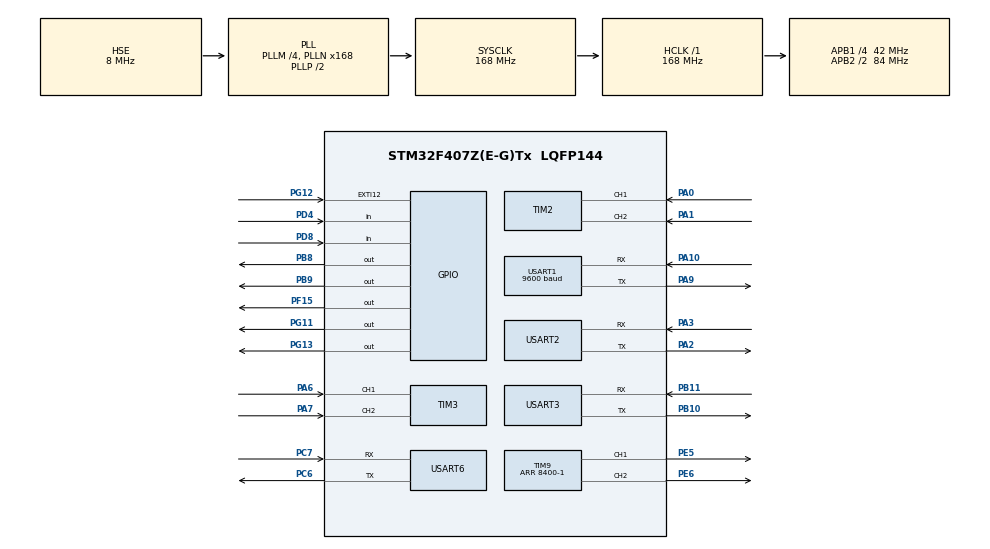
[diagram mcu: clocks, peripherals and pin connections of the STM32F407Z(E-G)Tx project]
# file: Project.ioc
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Mcu.Family=STM32F4
Mcu.Name=STM32F407Z(E-G)Tx
Mcu.Package=LQFP144
NVIC.EXTI15_10_IRQn=true\:0\:0\:false\:false\:true\:true\:true\:true
NVIC.PriorityGroup=NVIC_PRIORITYGROUP_4
NVIC.TIM1_BRK_TIM9_IRQn=true\:0\:0\:false\:false\:true\:true\:true\:true
NVIC.TIM1_UP_TIM10_IRQn=true\:0\:0\:false\:false\:true\:true\:true\:true
NVIC.USART1_IRQn=true\:0\:0\:false\:false\:true\:true\:true\:true
NVIC.USART2_IRQn=true\:0\:0\:false\:false\:true\:true\:true\:true
NVIC.USART3_IRQn=true\:0\:0\:false\:false\:true\:true\:true\:true
NVIC.USART6_IRQn=true\:0\:0\:false\:false\:true\:true\:true\:true
PA0-WKUP.Signal=S_TIM2_CH1_ETR
PA1.Signal=S_TIM2_CH2
PA10.Mode=Asynchronous
PA10.Signal=USART1_RX
PA13.Mode=Serial_Wire
PA13.Signal=SYS_JTMS-SWDIO
PA14.Mode=Serial_Wire
PA14.Signal=SYS_JTCK-SWCLK
PA2.Mode=Asynchronous
PA2.Signal=USART2_TX
PA3.Mode=Asynchronous
PA3.Signal=USART2_RX
PA6.Signal=S_TIM3_CH1
PA7.Signal=S_TIM3_CH2
PA9.Mode=Asynchronous
PA9.Signal=USART1_TX
PB10.Mode=Asynchronous
PB10.Signal=USART3_TX
PB11.Mode=Asynchronous
PB11.Signal=USART3_RX
PB8.GPIO_ModeDefaultOutputPP=GPIO_MODE_OUTPUT_PP
PB8.GPIO_PuPd=GPIO_PULLUP
PB8.GPIO_Speed=GPIO_SPEED_FREQ_HIGH
PB8.PinState=GPIO_PIN_SET
PB8.Signal=GPIO_Output
PB9.GPIO_ModeDefaultOutputPP=GPIO_MODE_OUTPUT_PP
PB9.GPIO_PuPd=GPIO_PULLUP
PB9.GPIO_Speed=GPIO_SPEED_FREQ_HIGH
PB9.PinState=GPIO_PIN_SET
PB9.Signal=GPIO_Output
PC6.Mode=Asynchronous
PC6.Signal=USART6_TX
PC7.Mode=Asynchronous
PC7.Signal=USART6_RX
PD4.GPIO_PuPd=GPIO_PULLUP
PD4.Signal=GPIO_Input
PD8.GPIO_PuPd=GPIO_PULLUP
PD8.Signal=GPIO_Input
PE5.Signal=S_TIM9_CH1
PE6.Signal=S_TIM9_CH2
PF15.GPIO_PuPd=GPIO_PULLUP
PF15.GPIO_Speed=GPIO_SPEED_FREQ_VERY_HIGH
PF15.PinState=GPIO_PIN_SET
PF15.Signal=GPIO_Output
PG11.GPIO_ModeDefaultOutputPP=GPIO_MODE_OUTPUT_PP
PG11.GPIO_PuPd=GPIO_PULLUP
PG11.GPIO_Speed=GPIO_SPEED_FREQ_LOW
PG11.PinState=GPIO_PIN_SET
PG11.Signal=GPIO_Output
PG12.GPIO_ModeDefaultEXTI=GPIO_MODE_IT_FALLING
PG12.GPIO_PuPd=GPIO_PULLUP
PG12.Signal=GPXTI12
PG13.GPIO_ModeDefaultOutputPP=GPIO_MODE_OUTPUT_PP
PG13.GPIO_PuPd=GPIO_PULLUP
PG13.GPIO_Speed=GPIO_SPEED_FREQ_LOW
PG13.PinState=GPIO_PIN_SET
PG13.Signal=GPIO_Output
PH0-OSC_IN.Mode=HSE-External-Oscillator
PH0-OSC_IN.Signal=RCC_OSC_IN
PH1-OSC_OUT.Mode=HSE-External-Oscillator
PH1-OSC_OUT.Signal=RCC_OSC_OUT
ProjectManager.HeapSize=0x200
ProjectManager.StackSize=0x400
ProjectManager.TargetToolchain=MDK-ARM V5.32
RCC.48MHZClocksFreq_Value=84000000
RCC.AHBFreq_Value=168000000
RCC.APB1CLKDivider=RCC_HCLK_DIV4
RCC.APB1Freq_Value=42000000
RCC.APB1TimFreq_Value=84000000
RCC.APB2CLKDivider=RCC_HCLK_DIV2
RCC.APB2Freq_Value=84000000
RCC.APB2TimFreq_Value=168000000
RCC.CortexFreq_Value=168000000
RCC.HCLKFreq_Value=168000000
RCC.HSE_VALUE=8000000
RCC.HSI_VALUE=16000000
RCC.LSE_VALUE=32768
RCC.PLLM=4
RCC.PLLN=168
RCC.PLLSourceVirtual=RCC_PLLSOURCE_HSE
RCC.SYSCLKFreq_VALUE=168000000
RCC.SYSCLKSource=RCC_SYSCLKSOURCE_PLLCLK
RCC.VCOOutputFreq_Value=336000000
SH.S_TIM2_CH1_ETR.0=TIM2_CH1,Encoder_Interface
SH.S_TIM2_CH2.0=TIM2_CH2,Encoder_Interface
SH.S_TIM3_CH1.0=TIM3_CH1,Encoder_Interface
SH.S_TIM3_CH2.0=TIM3_CH2,Encoder_Interface
SH.S_TIM9_CH1.0=TIM9_CH1,PWM Generation1 CH1
SH.S_TIM9_CH2.0=TIM9_CH2,PWM Generation2 CH2
TIM1.Period=10000-1
TIM1.Prescaler=84-1
TIM9.Channel-PWM\ Generation1\ CH1=TIM_CHANNEL_1
TIM9.Channel-PWM\ Generation2\ CH2=TIM_CHANNEL_2
TIM9.Period=8400-1
USART1.BaudRate=9600
USART1.VirtualMode=VM_ASYNC
USART2.VirtualMode=VM_ASYNC
USART3.VirtualMode=VM_ASYNC
USART6.VirtualMode=VM_ASYNC
VP_TIM1_VS_ClockSourceINT.Mode=Internal
VP_TIM9_VS_ClockSourceINT.Mode=Internal
board=custom

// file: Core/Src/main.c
/* USER CODE BEGIN Header */
/**
  ******************************************************************************
  * @file           : main.c
  * @brief          : Main program body
  ******************************************************************************
  * @attention
  *
  * Copyright (c) 2024 STMicroelectronics.
  * All rights reserved.
  *
  * This software is licensed under terms that can be found in the LICENSE file
  * in the root directory of this software component.
  * If no LICENSE file comes with this software, it is provided AS-IS.
  *
  ******************************************************************************
  */
/* USER CODE END Header */
#include "main.h"
#include "tim.h"
#include "usart.h"
#include "gpio.h"

/* USER CODE BEGIN Includes */
#include "led.h"
#include "oled.h"
#include "key.h"
#include "delay.h"
#include "stdio.h"
#include "string.h"
#include "sys.h"
#include "mpu9250.h"
#include "myiic.h"
#include "delay.h"
#include "inv_mpu.h"
#include "inv_mpu_dmp_motion_driver.h"
/* USER CODE END Includes */

/* USER CODE BEGIN PV */
char text[1024];  //用于OLED显示
uint8_t view;     //页面切换

/*陀螺仪数据*/
short GYRO_X,GYRO_Y,GYRO_Z,ACCEL_X,ACCEL_Y,ACCEL_Z,MAG_X,MAG_Y,MAG_Z,T_T;       //X,Y,Z轴，温度
short aacx,aacy,aacz;   //加速度传感器原始数据
short gyrox,gyroy,gyroz;//陀螺仪原始数据
float roll,pitch,yaw,Pitch,Roll,Yaw;

/* USER CODE END PV */

void SystemClock_Config(void);

int main(void)
{

    /* MCU Configuration--------------------------------------------------------*/

    /* Reset of all peripherals, Initializes the Flash interface and the Systick. */
    HAL_Init();

    /* Configure the system clock */
    SystemClock_Config();

    /* Initialize all configured peripherals */
    MX_GPIO_Init();
    MX_TIM2_Init();
    MX_TIM3_Init();
    MX_TIM9_Init();
    MX_USART1_UART_Init();
    MX_USART2_UART_Init();
    MX_USART6_UART_Init();
    MX_USART3_UART_Init();
    MX_TIM1_Init();
    /* USER CODE BEGIN 2 */
//=====================================================================//
    delay_init(164);                                                //164MHz晶振
    LED_Init();                                                     //初始化LED

    OLED_Init();                                                    //初始化OLED
    OLED_Clear();

    LED_ON();                                                       //程序运行指示灯
    delay_ms(300);
    LED_OFF();

//=============================陀螺仪初始化=============================//
    MPU_IIC_Init();                                                 //初始化IIC PB8,PB9
    delay_ms(50);
    MPU9250_Init();                                                 //初始化MPU9250
    delay_ms(50);
    mpu_dmp_init();
    delay_ms(500);

//=====================================================================//

//    LED = 0;
//======================================================================//
    /* USER CODE END 2 */

    /* Infinite loop */
    /* USER CODE BEGIN WHILE */

    while (1)
    {
        LED_Flash(50);
        KeyNum = Key_GetNum();
        //Menu();     //菜单
        sprintf(text,"Pitch: %.2f ", pitch);
        OLED_ShowString(0,2,text,16);

        sprintf(text,"Roll:  %.2f ", roll);
        OLED_ShowString(8,4,text,16);

        sprintf(text,"Yaw:  %.2f ", yaw);
        OLED_ShowString(8,6,text,16);
        if(KeyNum == 1)
        {
            LED_TOGG();
        }
        if(KeyNum == 10)
        {
            LED_TOGG();
        }
        if(KeyNum == 2)
        {
            LED_TOGG();
        }
        if(KeyNum == 20)
        {
            LED_TOGG();
        }
//
        /* USER CODE END WHILE */

    }
}

void SystemClock_Config(void)
{
    RCC_OscInitTypeDef RCC_OscInitStruct = {0};
    RCC_ClkInitTypeDef RCC_ClkInitStruct = {0};

    /** Configure the main internal regulator output voltage
    */
    __HAL_RCC_PWR_CLK_ENABLE();
    __HAL_PWR_VOLTAGESCALING_CONFIG(PWR_REGULATOR_VOLTAGE_SCALE1);

    /** Initializes the RCC Oscillators according to the specified parameters
    * in the RCC_OscInitTypeDef structure.
    */
    RCC_OscInitStruct.OscillatorType = RCC_OSCILLATORTYPE_HSE;
    RCC_OscInitStruct.HSEState = RCC_HSE_ON;
    RCC_OscInitStruct.PLL.PLLState = RCC_PLL_ON;
    RCC_OscInitStruct.PLL.PLLSource = RCC_PLLSOURCE_HSE;
    RCC_OscInitStruct.PLL.PLLM = 4;
    RCC_OscInitStruct.PLL.PLLN = 168;
    RCC_OscInitStruct.PLL.PLLP = RCC_PLLP_DIV2;
    RCC_OscInitStruct.PLL.PLLQ = 4;
    if (HAL_RCC_OscConfig(&RCC_OscInitStruct) != HAL_OK)
    {
        Error_Handler();
    }

    /** Initializes the CPU, AHB and APB buses clocks
    */
    RCC_ClkInitStruct.ClockType = RCC_CLOCKTYPE_HCLK|RCC_CLOCKTYPE_SYSCLK
                                  |RCC_CLOCKTYPE_PCLK1|RCC_CLOCKTYPE_PCLK2;
    RCC_ClkInitStruct.SYSCLKSource = RCC_SYSCLKSOURCE_PLLCLK;
    RCC_ClkInitStruct.AHBCLKDivider = RCC_SYSCLK_DIV1;
    RCC_ClkInitStruct.APB1CLKDivider = RCC_HCLK_DIV4;
    RCC_ClkInitStruct.APB2CLKDivider = RCC_HCLK_DIV2;

    if (HAL_RCC_ClockConfig(&RCC_ClkInitStruct, FLASH_LATENCY_5) != HAL_OK)
    {
        Error_Handler();
    }
}

/* USER CODE BEGIN 4 */
void HAL_GPIO_EXTI_Callback(uint16_t GPIO_Pin)
{
    if(INT==0)
    {
        Read_DMP();             //===更新姿态
    }
}
/* USER CODE END 4 */

void Error_Handler(void)
{
    __disable_irq();
    while (1)
    {
    }
}
